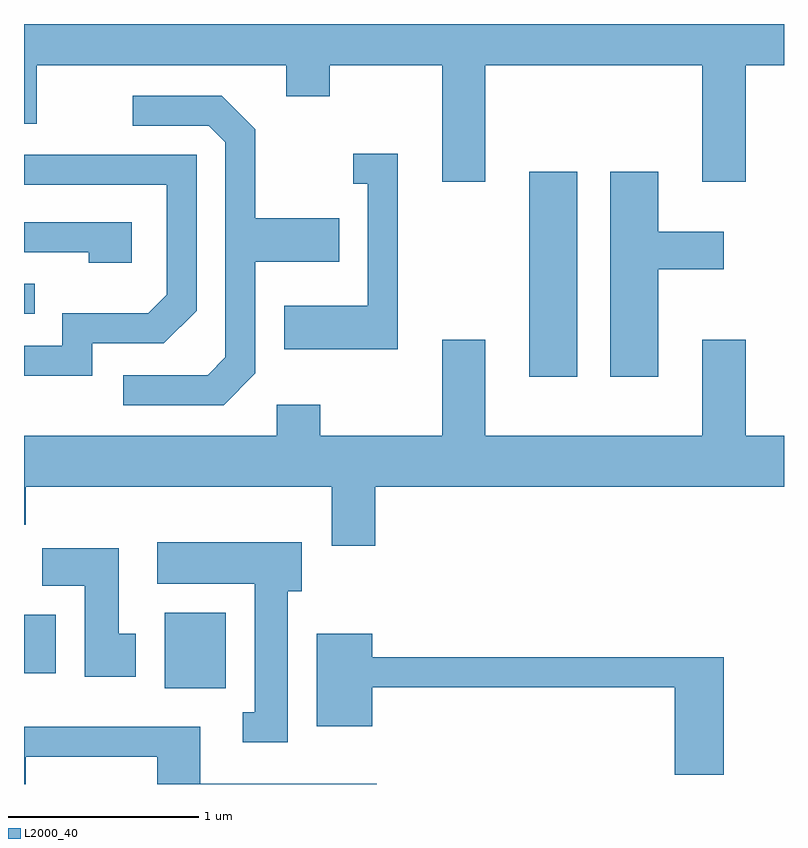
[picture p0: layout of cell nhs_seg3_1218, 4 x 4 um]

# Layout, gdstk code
import gdstk
lib = gdstk.Library(unit=1e-6, precision=1e-09)
def R(c, l, rs):  # rectangles x0, y0, x1, y1
    for r in rs: c.add(gdstk.rectangle(r[:2], r[2:], *l))
def P(c, l, *ps):  # polygons
    for p in ps: c.add(gdstk.Polygon(p, *l))
L2000_40 = (2000, 40)

nhs_seg3_1218 = lib.new_cell('nhs_seg3_1218')
R(nhs_seg3_1218, L2000_40, [(220.351,1240.396,220.674,1240.794), (219.611,1240.476,219.779,1240.784), (222.271,1242.036,222.524,1243.114), (219.611,1242.366,219.668,1242.524)])
P(nhs_seg3_1218, L2000_40, [(222.039,1243.676),(223.181,1243.676),(223.181,1243.061),(223.409,1243.061),(223.409,1243.676),(223.611,1243.676),(223.611,1243.892),(219.611,1243.892),(219.611,1243.366),(219.679,1243.366),(219.679,1243.676),(220.991,1243.676),(220.991,1243.511),(221.219,1243.511),(221.219,1243.676),(221.811,1243.676),(221.811,1243.061),(222.039,1243.061)],
  [(220.829,1242.054),(220.829,1242.641),(221.269,1242.641),(221.269,1242.869),(220.829,1242.869),(220.829,1243.337),(220.652,1243.514),(220.183,1243.514),(220.183,1243.356),(220.584,1243.356),(220.671,1243.269),(220.671,1242.137),(220.579,1242.044),(220.133,1242.044),(220.133,1241.886),(220.662,1241.886)],
  [(221.579,1243.209),(221.343,1243.209),(221.343,1243.051),(221.421,1243.051),(221.421,1242.409),(220.981,1242.409),(220.981,1242.181),(221.579,1242.181)],
  [(219.969,1242.211),(220.347,1242.211),(220.519,1242.384),(220.519,1243.204),(219.611,1243.204),(219.611,1243.046),(220.361,1243.046),(220.361,1242.467),(220.264,1242.369),(219.811,1242.369),(219.811,1242.199),(219.611,1242.199),(219.611,1242.041),(219.969,1242.041)],
  [(222.949,1242.601),(223.294,1242.601),(223.294,1242.799),(222.949,1242.799),(222.949,1243.114),(222.696,1243.114),(222.696,1242.036),(222.949,1242.036)],
  [(220.179,1242.849),(219.611,1242.849),(219.611,1242.691),(219.951,1242.691),(219.951,1242.636),(220.179,1242.636)],
  [(221.459,1241.456),(223.611,1241.456),(223.611,1241.724),(223.409,1241.724),(223.409,1242.229),(223.181,1242.229),(223.181,1241.724),(222.039,1241.724),(222.039,1242.229),(221.811,1242.229),(221.811,1241.724),(221.169,1241.724),(221.169,1241.889),(220.941,1241.889),(220.941,1241.724),(219.611,1241.724),(219.611,1241.256),(219.619,1241.256),(219.619,1241.456),(221.231,1241.456),(221.231,1241.146),(221.459,1241.146)],
  [(220.999,1240.906),(221.074,1240.906),(221.074,1241.164),(220.311,1241.164),(220.311,1240.946),(220.826,1240.946),(220.826,1240.269),(220.763,1240.269),(220.763,1240.111),(220.999,1240.111)],
  [(220.199,1240.684),(220.109,1240.684),(220.109,1241.134),(219.706,1241.134),(219.706,1240.936),(219.931,1240.936),(219.931,1240.456),(220.199,1240.456)],
  [(223.294,1240.559),(221.444,1240.559),(221.444,1240.684),(221.151,1240.684),(221.151,1240.196),(221.444,1240.196),(221.444,1240.401),(223.036,1240.401),(223.036,1239.941),(223.294,1239.941)],
  [(219.619,1240.036),(220.311,1240.036),(220.311,1239.892),(221.468,1239.892),(221.468,1239.894),(220.539,1239.894),(220.539,1240.194),(219.611,1240.194),(219.611,1239.892),(219.619,1239.892)])

lib.write_gds('nhs_seg3_1218.gds')
